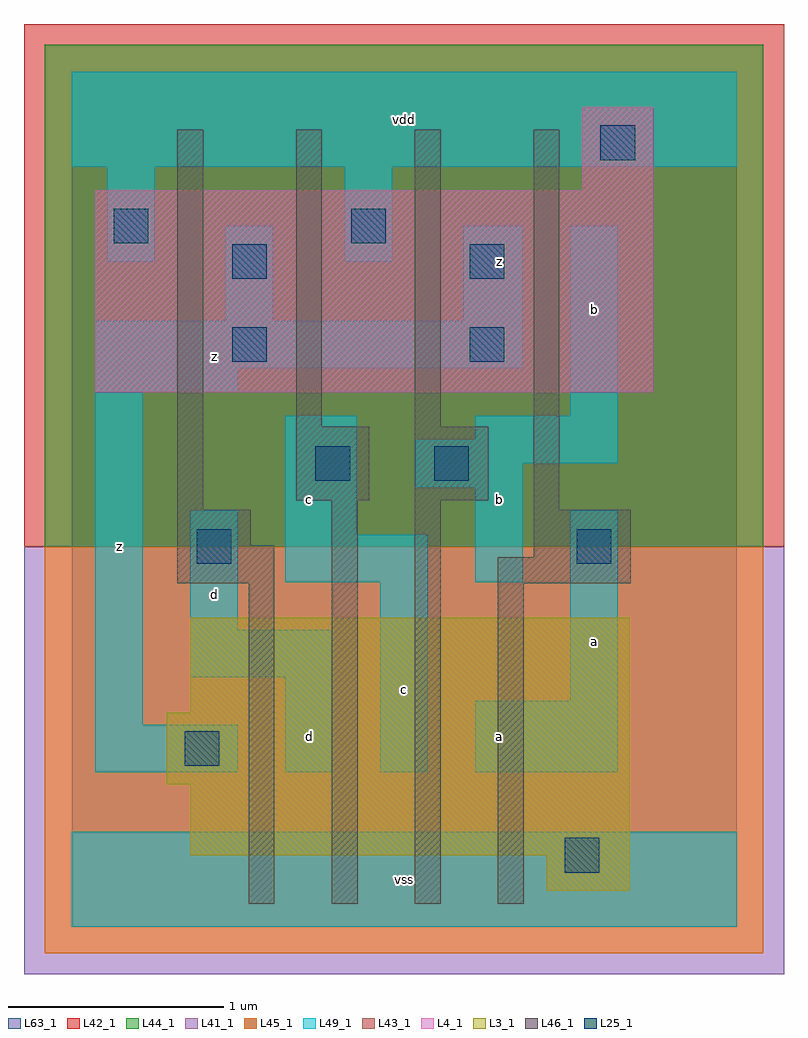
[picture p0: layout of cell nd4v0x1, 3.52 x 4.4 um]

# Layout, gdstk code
import gdstk
lib = gdstk.Library(unit=1e-6, precision=1e-09)
def R(c, l, rs):  # rectangles x0, y0, x1, y1
    for r in rs: c.add(gdstk.rectangle(r[:2], r[2:], *l))
L3_1 = (3, 1)
L4_1 = (4, 1)
L25_1 = (25, 1)
L41_1 = (41, 1)
L42_1 = (42, 1)
L43_1 = (43, 1)
L44_1 = (44, 1)
L45_1 = (45, 1)
L46_1 = (46, 1)
L49_1 = (49, 1)
L63_1 = (63, 1)

nd4v0x1 = lib.new_cell('nd4v0x1')
R(nd4v0x1, L3_1, [(2.2,0.165,2.585,0.33), (0.55,0.33,2.585,0.66), (0.44,0.66,2.585,0.99), (0.55,0.99,2.585,1.43)])
R(nd4v0x1, L4_1, [(0.11,2.475,2.695,3.41), (2.365,3.41,2.695,3.795)])
R(nd4v0x1, L25_1, [(2.285,0.25,2.445,0.41), (0.525,0.745,0.685,0.905), (0.58,1.68,0.74,1.84), (2.34,1.68,2.5,1.84), (1.13,2.065,1.29,2.225), (1.68,2.065,1.84,2.225), (0.745,2.615,0.905,2.775), (1.845,2.615,2.005,2.775), (0.745,3,0.905,3.16), (1.845,3,2.005,3.16), (0.195,3.165,0.355,3.325), (1.295,3.165,1.455,3.325), (2.45,3.55,2.61,3.71)])
R(nd4v0x1, L41_1, [(-0.22,-0.22,3.3,1.76)])
R(nd4v0x1, L42_1, [(-0.22,1.76,3.3,4.18)])
R(nd4v0x1, L43_1, [(2.2,0.165,2.585,0.33), (0.55,0.33,2.585,0.66), (0.44,0.66,2.585,0.99), (0.55,0.99,2.585,1.43), (0.11,2.475,2.695,3.41), (2.365,3.41,2.695,3.795)])
R(nd4v0x1, L44_1, [(-0.125,1.76,3.205,4.085)])
R(nd4v0x1, L45_1, [(-0.125,-0.125,3.205,1.76)])
R(nd4v0x1, L46_1, [(0.82,0.105,0.94,1.59), (1.205,0.105,1.325,1.975), (1.59,0.105,1.71,1.975), (1.975,0.105,2.095,1.59), (0.49,1.59,0.94,1.765), (1.975,1.59,2.59,1.71), (2.14,1.71,2.59,1.93), (0.49,1.765,0.83,1.93), (0.49,1.93,0.61,3.69), (2.14,1.93,2.26,3.69), (1.04,1.975,1.38,2.315), (1.59,1.975,1.93,2.315), (1.04,2.315,1.16,3.69), (1.59,2.315,1.71,3.69)])
R(nd4v0x1, L49_1, [(0,0,3.08,0.44), (0.11,0.715,0.77,0.935), (0.99,0.715,1.21,1.155), (1.43,0.715,1.65,1.595), (1.87,0.715,2.53,1.045), (0.11,0.935,0.33,2.475), (2.31,1.045,2.53,1.925), (0.55,1.155,1.21,1.375), (0.55,1.375,0.77,1.925), (0.99,1.595,1.65,1.815), (1.87,1.595,2.09,2.035), (0.99,1.815,1.32,2.365), (1.595,2.035,2.09,2.145), (1.595,2.145,2.53,2.255), (1.87,2.255,2.53,2.365), (2.31,2.365,2.53,3.245), (0.11,2.475,0.77,2.585), (0.11,2.585,2.09,2.805), (0.715,2.805,0.935,3.245), (1.815,2.805,2.09,3.245), (0.165,3.08,0.385,3.52), (1.265,3.08,1.485,3.52), (0,3.52,3.08,3.96)])
R(nd4v0x1, L63_1, [(0,0,3.08,3.96)])
nd4v0x1.add(gdstk.Label('z', (0.22,1.76), layer=49, texttype=1))
nd4v0x1.add(gdstk.Label('d', (1.1,0.88), layer=49, texttype=1))
nd4v0x1.add(gdstk.Label('d', (0.66,1.54), layer=49, texttype=1))
nd4v0x1.add(gdstk.Label('c', (1.1,1.98), layer=49, texttype=1))
nd4v0x1.add(gdstk.Label('z', (0.66,2.64), layer=49, texttype=1))
nd4v0x1.add(gdstk.Label('vss', (1.54,0.22), layer=49, texttype=1))
nd4v0x1.add(gdstk.Label('a', (1.98,0.88), layer=49, texttype=1))
nd4v0x1.add(gdstk.Label('c', (1.54,1.1), layer=49, texttype=1))
nd4v0x1.add(gdstk.Label('b', (1.98,1.98), layer=49, texttype=1))
nd4v0x1.add(gdstk.Label('z', (1.98,3.08), layer=49, texttype=1))
nd4v0x1.add(gdstk.Label('vdd', (1.54,3.74), layer=49, texttype=1))
nd4v0x1.add(gdstk.Label('a', (2.42,1.32), layer=49, texttype=1))
nd4v0x1.add(gdstk.Label('b', (2.42,2.86), layer=49, texttype=1))

lib.write_gds('nd4v0x1.gds')
